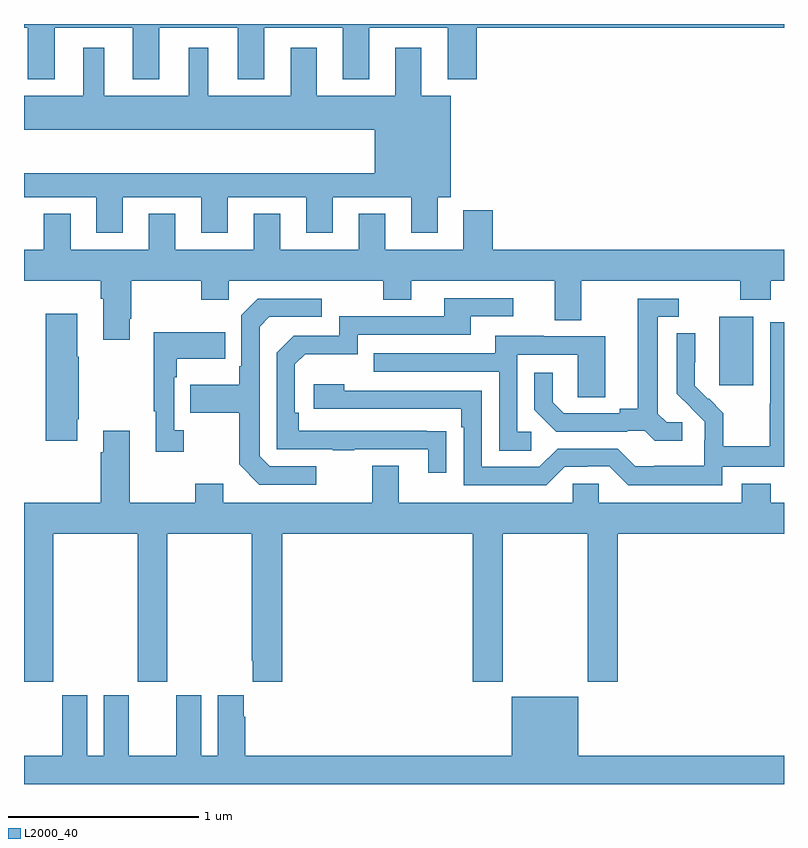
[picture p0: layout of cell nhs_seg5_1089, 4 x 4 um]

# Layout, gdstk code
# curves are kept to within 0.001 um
import gdstk
lib = gdstk.Library(unit=1e-6, precision=1e-09)
def R(c, l, rs):  # rectangles x0, y0, x1, y1
    for r in rs: c.add(gdstk.rectangle(r[:2], r[2:], *l))
def P(c, l, *ps):  # polygons
    for p in ps: c.add(gdstk.Polygon(p, *l))
L2000_40 = (2000, 40)

nhs_seg5_1089 = lib.new_cell('nhs_seg5_1089')
R(nhs_seg5_1089, L2000_40, [(182.66,834.897,182.839,835.258)])
P(nhs_seg5_1089, L2000_40, [(179.161,836.78),(179.573,836.78),(179.573,836.507),(179.713,836.507),(179.713,836.78),(180.125,836.78),(180.125,836.507),(180.265,836.507),(180.265,836.78),(180.677,836.78),(180.677,836.507),(180.817,836.507),(180.817,836.78),(181.229,836.78),(181.229,836.507),(181.382,836.507),(181.382,836.78),(183,836.78),(183,836.799),(179,836.799),(179,836.78),(179.021,836.78),(179.021,836.507),(179.161,836.507)],
  [(179.521,835.886),(179.933,835.886),(179.933,835.701),(180.073,835.701),(180.073,835.886),(180.485,835.886),(180.485,835.701),(180.625,835.701),(180.625,835.886),(181.037,835.886),(181.037,835.701),(181.177,835.701),(181.177,835.886),(181.246,835.886),(181.246,836.422),(181.09,836.422),(181.09,836.674),(180.953,836.674),(180.953,836.422),(180.541,836.422),(180.541,836.674),(180.404,836.674),(180.404,836.422),(179.971,836.422),(179.971,836.674),(179.867,836.674),(179.867,836.422),(179.422,836.422),(179.422,836.674),(179.312,836.674),(179.312,836.422),(179,836.422),(179,836.243),(180.845,836.243),(180.845,836.014),(179,836.014),(179,835.886),(179.381,835.886),(179.381,835.701),(179.521,835.701)],
  [(181.793,835.24),(181.933,835.24),(181.933,835.448),(182.77,835.448),(182.77,835.349),(182.93,835.349),(182.93,835.448),(183,835.448),(183,835.612),(181.466,835.612),(181.466,835.819),(181.313,835.819),(181.313,835.612),(180.901,835.612),(180.901,835.801),(180.761,835.801),(180.761,835.612),(180.349,835.612),(180.349,835.801),(180.209,835.801),(180.209,835.612),(179.797,835.612),(179.797,835.801),(179.657,835.801),(179.657,835.612),(179.245,835.612),(179.245,835.801),(179.105,835.801),(179.105,835.612),(179,835.612),(179,835.448),(179.405,835.448),(179.405,835.352),(179.417,835.352),(179.417,835.137),(179.557,835.137),(179.557,835.249),(179.565,835.249),(179.565,835.448),(179.932,835.448),(179.932,835.349),(180.078,835.349),(180.078,835.448),(180.892,835.448),(180.892,835.349),(181.039,835.349),(181.039,835.448),(181.793,835.448)],
  [(181.223,834.656),(180.446,834.657),(180.446,834.754),(180.426,834.754),(180.426,835.008),(180.479,835.061),(180.756,835.061),(180.756,835.164),(181.351,835.164),(181.351,835.26),(181.576,835.26),(181.576,835.356),(181.211,835.356),(181.211,835.26),(180.66,835.26),(180.66,835.158),(180.42,835.158),(180.33,835.068),(180.33,834.561),(180.625,834.561),(180.625,834.556),(180.737,834.556),(180.737,834.561),(181.127,834.561),(181.127,834.438),(181.223,834.438)],
  [(182.464,834.702),(182.382,834.702),(182.335,834.749),(182.335,835.257),(182.446,835.257),(182.446,835.353),(182.231,835.353),(182.231,834.773),(182.135,834.773),(182.135,834.75),(181.84,834.75),(181.783,834.807),(181.783,834.964),(181.686,834.964),(181.686,834.77),(181.802,834.654),(182.174,834.654),(182.174,834.657),(182.268,834.657),(182.32,834.605),(182.464,834.605)],
  [(180.538,834.471),(180.294,834.471),(180.24,834.525),(180.24,835.206),(180.291,835.257),(180.568,835.257),(180.568,835.353),(180.231,835.353),(180.144,835.266),(180.144,834.997),(180.132,834.997),(180.132,834.901),(179.875,834.901),(179.875,834.754),(180.132,834.754),(180.132,834.481),(180.237,834.375),(180.538,834.375)],
  [(179.281,834.718),(179.289,834.718),(179.289,835.049),(179.281,835.049),(179.281,835.273),(179.114,835.273),(179.114,834.606),(179.281,834.606)],
  [(182.676,834.468),(183,834.468),(183,835.23),(182.928,835.23),(182.928,834.8),(182.926,834.8),(182.926,834.577),(182.681,834.577),(182.681,834.751),(182.604,834.828),(182.601,834.825),(182.531,834.896),(182.532,835.172),(182.436,835.172),(182.436,834.854),(182.582,834.706),(182.582,834.609),(182.58,834.609),(182.58,834.475),(182.317,834.475),(182.317,834.471),(182.217,834.471),(182.124,834.564),(181.809,834.564),(181.713,834.468),(181.41,834.468),(181.41,834.87),(180.686,834.87),(180.686,834.904),(180.525,834.904),(180.525,834.774),(181.301,834.774),(181.301,834.677),(181.314,834.677),(181.314,834.372),(181.749,834.372),(181.845,834.468),(181.964,834.468),(181.964,834.471),(182.079,834.471),(182.179,834.371),(182.676,834.371)],
  [(179.842,834.662),(179.79,834.662),(179.79,834.941),(179.803,834.941),(179.803,835.037),(180.059,835.037),(180.059,835.177),(179.682,835.177),(179.682,834.761),(179.693,834.761),(179.693,834.549),(179.842,834.549)],
  [(181.669,834.654),(181.596,834.654),(181.596,835.059),(181.914,835.059),(181.914,834.835),(182.059,834.835),(182.059,835.155),(181.735,835.155),(181.735,835.159),(181.481,835.159),(181.481,835.065),(180.841,835.065),(180.841,834.969),(181.5,834.969),(181.5,834.553),(181.669,834.553)],
  [(181.887,834.28),(180.973,834.28),(180.973,834.475),(180.833,834.475),(180.833,834.28),(180.049,834.28),(180.049,834.379),(179.902,834.379),(179.902,834.28),(179.557,834.28),(179.557,834.658),(179.417,834.658),(179.417,834.545),(179.405,834.545),(179.405,834.28),(179,834.28),(179,833.337),(179.154,833.337),(179.154,834.116),(179.599,834.116),(179.599,833.337),(179.754,833.337),(179.754,834.116),(180.199,834.116),(180.199,833.449),(180.203,833.449),(180.203,833.337),(180.359,833.337),(180.359,834.116),(181.361,834.116),(181.361,833.337),(181.521,833.337),(181.521,834.116),(181.966,834.116),(181.966,833.337),(182.126,833.337),(182.126,834.116),(183,834.116),(183,834.28),(182.93,834.28),(182.93,834.379),(182.777,834.379),(182.777,834.28),(182.025,834.28),(182.025,834.378),(181.887,834.378)],
  [(183,832.948),(181.918,832.948),(181.918,833.257),(181.568,833.257),(181.568,832.948),(180.164,832.948),(180.164,833.153),(180.157,833.153),(180.157,833.266),(180.02,833.266),(180.02,832.948),(179.932,832.948),(179.932,833.266),(179.801,833.266),(179.801,832.948),(179.551,832.948),(179.551,833.266),(179.42,833.266),(179.42,832.948),(179.332,832.948),(179.332,833.266),(179.201,833.266),(179.201,832.948),(179,832.948),(179,832.799),(183,832.799)])

lib.write_gds('nhs_seg5_1089.gds')
